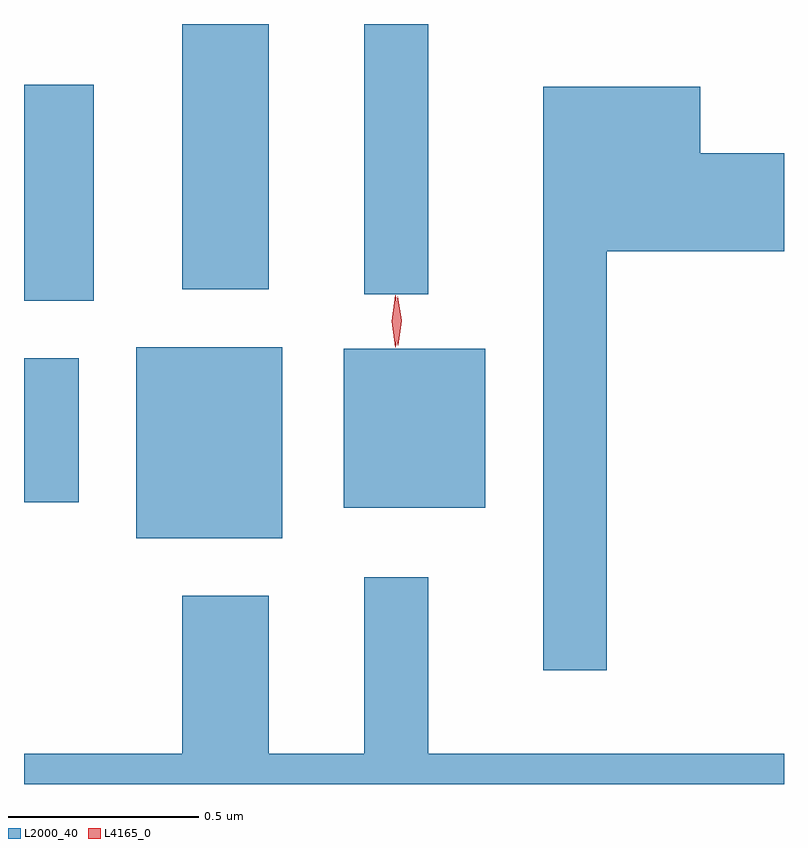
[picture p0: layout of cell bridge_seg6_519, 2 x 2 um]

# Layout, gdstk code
import gdstk
lib = gdstk.Library(unit=1e-6, precision=1e-09)
def R(c, l, rs):  # rectangles x0, y0, x1, y1
    for r in rs: c.add(gdstk.rectangle(r[:2], r[2:], *l))
def P(c, l, *ps):  # polygons
    for p in ps: c.add(gdstk.Polygon(p, *l))
L2000_40 = (2000, 40)
L4165_0 = (4165, 0)

bridge_seg6_519 = lib.new_cell('bridge_seg6_519')
R(bridge_seg6_519, L2000_40, [(834.501,1539.771,834.884,1540.274), (835.046,1539.851,835.419,1540.269), (834.205,1539.866,834.349,1540.244), (834.205,1540.396,834.389,1540.964), (835.101,1540.413,835.269,1541.124), (834.621,1540.426,834.849,1541.124)])
P(bridge_seg6_519, L2000_40, [(835.739,1540.526),(836.205,1540.526),(836.205,1540.784),(835.984,1540.784),(835.984,1540.959),(835.571,1540.959),(835.571,1539.423),(835.739,1539.423)],
  [(836.205,1539.204),(835.269,1539.204),(835.269,1539.668),(835.101,1539.668),(835.101,1539.204),(834.849,1539.204),(834.849,1539.619),(834.621,1539.619),(834.621,1539.204),(834.205,1539.204),(834.205,1539.124),(836.205,1539.124)])
P(bridge_seg6_519, L4165_0, [(835.189,1540.278),(835.179,1540.342),(835.188,1540.407),(835.189,1540.407),(835.189,1540.407),(835.199,1540.343),(835.19,1540.278),(835.19,1540.278)],
  [(835.182,1540.274),(835.173,1540.342),(835.182,1540.41),(835.183,1540.41),(835.183,1540.41),(835.193,1540.342),(835.183,1540.274),(835.183,1540.274)])

lib.write_gds('bridge_seg6_519.gds')
